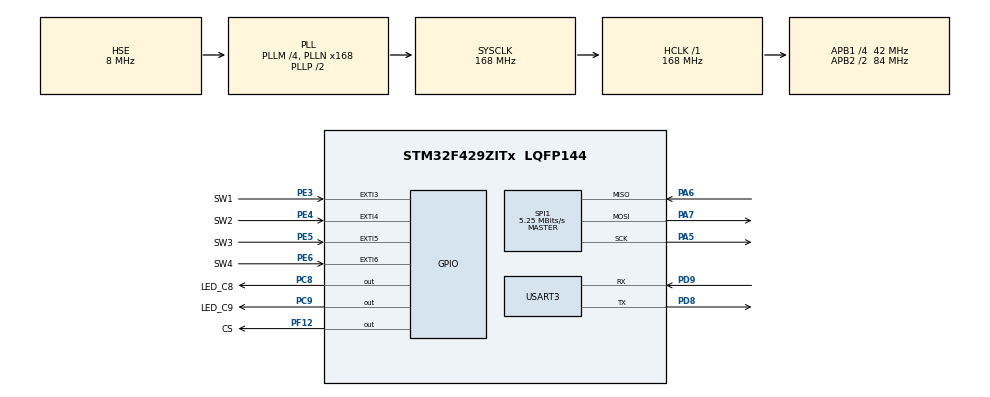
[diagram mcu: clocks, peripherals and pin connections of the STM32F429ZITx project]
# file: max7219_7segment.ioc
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FREERTOS.Tasks01=defaultTask,24,128,StartDefaultTask,Default,NULL,Dynamic,NULL,NULL
Mcu.Family=STM32F4
Mcu.Name=STM32F429ZITx
Mcu.Package=LQFP144
NVIC.EXTI3_IRQn=true\:5\:0\:false\:false\:true\:true\:true\:true\:true
NVIC.EXTI4_IRQn=true\:5\:0\:false\:false\:true\:true\:true\:true\:true
NVIC.EXTI9_5_IRQn=true\:5\:0\:false\:false\:true\:true\:true\:true\:true
NVIC.PriorityGroup=NVIC_PRIORITYGROUP_4
PA13.Mode=Serial_Wire
PA13.Signal=SYS_JTMS-SWDIO
PA14.Mode=Serial_Wire
PA14.Signal=SYS_JTCK-SWCLK
PA5.Mode=Full_Duplex_Master
PA5.Signal=SPI1_SCK
PA6.Mode=Full_Duplex_Master
PA6.Signal=SPI1_MISO
PA7.Mode=Full_Duplex_Master
PA7.Signal=SPI1_MOSI
PC8.GPIO_Label=LED_C8
PC8.Signal=GPIO_Output
PC9.GPIO_Label=LED_C9
PC9.Signal=GPIO_Output
PD8.Mode=Asynchronous
PD8.Signal=USART3_TX
PD9.Mode=Asynchronous
PD9.Signal=USART3_RX
PE3.GPIO_Label=SW1
PE3.GPIO_ModeDefaultEXTI=GPIO_MODE_IT_RISING
PE3.Signal=GPXTI3
PE4.GPIO_Label=SW2
PE4.GPIO_ModeDefaultEXTI=GPIO_MODE_IT_RISING
PE4.Signal=GPXTI4
PE5.GPIO_Label=SW3
PE5.GPIO_ModeDefaultEXTI=GPIO_MODE_IT_FALLING
PE5.Signal=GPXTI5
PE6.GPIO_Label=SW4
PE6.GPIO_ModeDefaultEXTI=GPIO_MODE_IT_FALLING
PE6.Signal=GPXTI6
PF12.GPIO_Label=CS
PF12.Signal=GPIO_Output
PH0/OSC_IN.Mode=HSE-External-Clock-Source
PH0/OSC_IN.Signal=RCC_OSC_IN
PH1/OSC_OUT.Mode=HSE-External-Clock-Source
PH1/OSC_OUT.Signal=RCC_OSC_OUT
ProjectManager.HeapSize=0x200
ProjectManager.StackSize=0x400
ProjectManager.TargetToolchain=MDK-ARM V5.32
RCC.48MHZClocksFreq_Value=48000000
RCC.AHBFreq_Value=168000000
RCC.APB1CLKDivider=RCC_HCLK_DIV4
RCC.APB1Freq_Value=42000000
RCC.APB1TimFreq_Value=84000000
RCC.APB2CLKDivider=RCC_HCLK_DIV2
RCC.APB2Freq_Value=84000000
RCC.APB2TimCLKDivider=2
RCC.APB2TimFreq_Value=168000000
RCC.CortexFreq_Value=168000000
RCC.HCLKFreq_Value=168000000
RCC.HSE_VALUE=8000000
RCC.HSI_VALUE=16000000
RCC.LSE_VALUE=32768
RCC.PLLM=4
RCC.PLLMUL=RCC_PLL_MUL9
RCC.PLLN=168
RCC.PLLQ=7
RCC.PLLSourceVirtual=RCC_PLLSOURCE_HSE
RCC.PRESCALERUSB=RCC_USBCLKSOURCE_PLL_DIV1_5
RCC.SYSCLKFreq_VALUE=168000000
RCC.SYSCLKSource=RCC_SYSCLKSOURCE_PLLCLK
RCC.SYSCLKSourceVirtual=RCC_SYSCLKSOURCE_PLLCLK
RCC.USBFreq_Value=48000000
RCC.VCOOutputFreq_Value=336000000
SPI1.BaudRatePrescaler=SPI_BAUDRATEPRESCALER_16
SPI1.CalculateBaudRate=5.25 MBits/s
SPI1.DataSize=SPI_DATASIZE_16BIT
SPI1.Direction=SPI_DIRECTION_2LINES
SPI1.Mode=SPI_MODE_MASTER
SPI1.VirtualType=VM_MASTER
USART3.VirtualMode=VM_ASYNC
VP_FREERTOS_VS_CMSIS_V2.Mode=CMSIS_V2
board=NUCLEO-F429ZI

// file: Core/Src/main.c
/* USER CODE BEGIN Header */
/**
  ******************************************************************************
  * @file           : main.c
  * @brief          : Main program body
  ******************************************************************************
  * @attention
  *
  * Copyright (c) 2024 STMicroelectronics.
  * All rights reserved.
  *
  * This software is licensed under terms that can be found in the LICENSE file
  * in the root directory of this software component.
  * If no LICENSE file comes with this software, it is provided AS-IS.
  *
  ******************************************************************************
  */
/* USER CODE END Header */
#include "main.h"
#include "cmsis_os.h"
#include "spi.h"
#include "usart.h"
#include "gpio.h"

/* USER CODE BEGIN Includes */
#include "max7219_7segment.h"
#include "stdio.h"
#include "stdbool.h"
#include "FreeRTOS.h"
#include "task.h"
#include "queue.h"
/* USER CODE END Includes */

/* USER CODE BEGIN PV */
TaskHandle_t handle7Segment;
TaskHandle_t handleBtn;

QueueHandle_t queueSwitch;
//QueueHandle_t queueTimer;
/* USER CODE END PV */

void SystemClock_Config(void);

/* USER CODE BEGIN 0 */
void task7Segment(void *pvParm){
	uint8_t data[9];
	uint32_t Number = 12345678;
	uint32_t defaultNum = 00000000;
	uint8_t displayMode = 0;
	while(1){
		xQueueReceiveFromISR(queueSwitch, &displayMode, NULL);

		switch(displayMode){
				case 0:
					snprintf((char *)data, 9, "%8d", Number);
					break;

				default:
					snprintf((char *)data, 9, "%8d", defaultNum);
					break;
		}

		for(uint8_t i = 0;i<8;i++){
			Write_Max7219(8-i, data[i]);
		}

		vTaskDelay(100);
	}
}

/****
sw1, 2 -> rising edge
sw3, 4 -> falling edge
****/
void HAL_GPIO_EXTI_Callback(uint16_t GPIO_Pin){
	uint8_t mode = 0;

	switch(GPIO_Pin){
		//sw1 PE3
		case GPIO_PIN_3:
		{
			if(HAL_GPIO_ReadPin(SW1_GPIO_Port, SW1_Pin) == 1){
				mode = 0;
				printf("display mode:default \r\n");
				xQueueSendFromISR(queueSwitch, &mode, NULL);
			}
			break;
		}

		//sw2 PE4
		case GPIO_PIN_4:
		{
			if(HAL_GPIO_ReadPin(SW2_GPIO_Port, SW2_Pin) == 1){
				mode = 1;
				printf("display mode:student id \r\n");
				xQueueSendFromISR(queueSwitch, &mode, NULL);
			}
			break;
		}

		//sw3 PE5
		case GPIO_PIN_5:
		{
			if(HAL_GPIO_ReadPin(SW3_GPIO_Port, SW3_Pin) == 0){
				mode = 2;
				printf("display mode:system startup timer \r\n");
				xQueueSendFromISR(queueSwitch, &mode, NULL);
			}
			break;
		}

		//sw4 PE6
		case GPIO_PIN_6:
		{
			if(HAL_GPIO_ReadPin(SW4_GPIO_Port, SW4_Pin) == 0){
				mode = 3;
				printf("display mode:reserved, back to default \r\n");
				xQueueSendFromISR(queueSwitch, &mode, NULL);
			}
			break;
		}

		default:
			mode = 0;
			xQueueSendFromISR(queueSwitch, &mode, NULL);
			printf("unknown irq happend \r\n");
			break;
	}
}

/* USER CODE END 0 */

int main(void)
{

  /* MCU Configuration--------------------------------------------------------*/

  /* Reset of all peripherals, Initializes the Flash interface and the Systick. */
  HAL_Init();

  /* Configure the system clock */
  SystemClock_Config();

  /* Initialize all configured peripherals */
  MX_GPIO_Init();
  MX_SPI1_Init();
  MX_USART3_UART_Init();
  /* USER CODE BEGIN 2 */
	Init_Max7219();
	printf("init success \r\n");
	queueSwitch = xQueueCreate(3, sizeof(uint8_t));

	xTaskCreate(task7Segment, "7segment", 128, NULL, 1, &handle7Segment);
	//xTaskCreate(taskBtn, "btn_scan", 128, NULL, 1, &handleBtn);

	printf("start scheduler \r\n");
	printf("display mode:default \r\n");

	vTaskStartScheduler();
  /* USER CODE END 2 */

  /* Init scheduler */

  /* Start scheduler */

  /* We should never get here as control is now taken by the scheduler */
  /* Infinite loop */
  while (1)
  {

  }
}

void SystemClock_Config(void)
{
  RCC_OscInitTypeDef RCC_OscInitStruct = {0};
  RCC_ClkInitTypeDef RCC_ClkInitStruct = {0};

  /** Configure the main internal regulator output voltage
  */
  __HAL_RCC_PWR_CLK_ENABLE();
  __HAL_PWR_VOLTAGESCALING_CONFIG(PWR_REGULATOR_VOLTAGE_SCALE1);

  /** Initializes the RCC Oscillators according to the specified parameters
  * in the RCC_OscInitTypeDef structure.
  */
  RCC_OscInitStruct.OscillatorType = RCC_OSCILLATORTYPE_HSE;
  RCC_OscInitStruct.HSEState = RCC_HSE_BYPASS;
  RCC_OscInitStruct.PLL.PLLState = RCC_PLL_ON;
  RCC_OscInitStruct.PLL.PLLSource = RCC_PLLSOURCE_HSE;
  RCC_OscInitStruct.PLL.PLLM = 4;
  RCC_OscInitStruct.PLL.PLLN = 168;
  RCC_OscInitStruct.PLL.PLLP = RCC_PLLP_DIV2;
  RCC_OscInitStruct.PLL.PLLQ = 7;
  if (HAL_RCC_OscConfig(&RCC_OscInitStruct) != HAL_OK)
  {
    Error_Handler();
  }

  /** Initializes the CPU, AHB and APB buses clocks
  */
  RCC_ClkInitStruct.ClockType = RCC_CLOCKTYPE_HCLK|RCC_CLOCKTYPE_SYSCLK
                              |RCC_CLOCKTYPE_PCLK1|RCC_CLOCKTYPE_PCLK2;
  RCC_ClkInitStruct.SYSCLKSource = RCC_SYSCLKSOURCE_PLLCLK;
  RCC_ClkInitStruct.AHBCLKDivider = RCC_SYSCLK_DIV1;
  RCC_ClkInitStruct.APB1CLKDivider = RCC_HCLK_DIV4;
  RCC_ClkInitStruct.APB2CLKDivider = RCC_HCLK_DIV2;

  if (HAL_RCC_ClockConfig(&RCC_ClkInitStruct, FLASH_LATENCY_5) != HAL_OK)
  {
    Error_Handler();
  }
}

void Error_Handler(void)
{
  __disable_irq();
  while (1)
  {
  }
}
